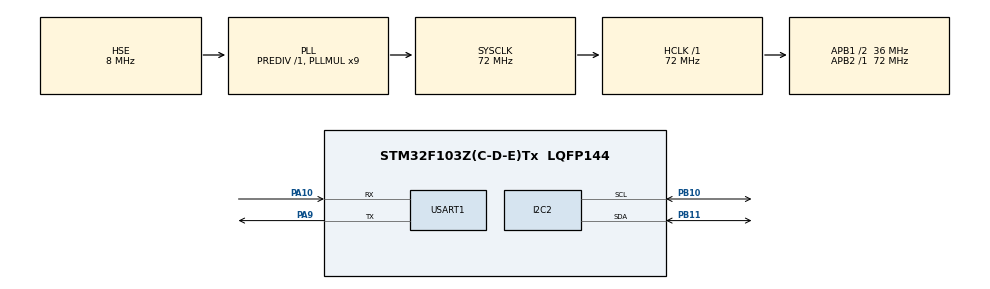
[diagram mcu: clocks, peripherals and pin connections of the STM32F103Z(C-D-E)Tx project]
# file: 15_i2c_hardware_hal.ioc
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Mcu.Family=STM32F1
Mcu.Name=STM32F103Z(C-D-E)Tx
Mcu.Package=LQFP144
NVIC.PriorityGroup=NVIC_PRIORITYGROUP_4
OSC_IN.Mode=HSE-External-Oscillator
OSC_IN.Signal=RCC_OSC_IN
OSC_OUT.Mode=HSE-External-Oscillator
OSC_OUT.Signal=RCC_OSC_OUT
PA10.Mode=Asynchronous
PA10.Signal=USART1_RX
PA13.Mode=Serial_Wire
PA13.Signal=SYS_JTMS-SWDIO
PA14.Mode=Serial_Wire
PA14.Signal=SYS_JTCK-SWCLK
PA9.Mode=Asynchronous
PA9.Signal=USART1_TX
PB10.Mode=I2C
PB10.Signal=I2C2_SCL
PB11.Mode=I2C
PB11.Signal=I2C2_SDA
PC14-OSC32_IN.Mode=LSE-External-Oscillator
PC14-OSC32_IN.Signal=RCC_OSC32_IN
PC15-OSC32_OUT.Mode=LSE-External-Oscillator
PC15-OSC32_OUT.Signal=RCC_OSC32_OUT
ProjectManager.HeapSize=0x200
ProjectManager.StackSize=0x400
ProjectManager.TargetToolchain=MDK-ARM V5.32
RCC.AHBFreq_Value=72000000
RCC.APB1CLKDivider=RCC_HCLK_DIV2
RCC.APB1Freq_Value=36000000
RCC.APB1TimFreq_Value=72000000
RCC.APB2Freq_Value=72000000
RCC.APB2TimFreq_Value=72000000
RCC.HCLKFreq_Value=72000000
RCC.PLLMUL=RCC_PLL_MUL9
RCC.PLLSourceVirtual=RCC_PLLSOURCE_HSE
RCC.SYSCLKFreq_VALUE=72000000
RCC.SYSCLKSource=RCC_SYSCLKSOURCE_PLLCLK
RCC.USBFreq_Value=72000000
USART1.VirtualMode=VM_ASYNC
board=custom

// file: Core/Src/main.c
/* USER CODE BEGIN Header */
/**
  ******************************************************************************
  * @file           : main.c
  * @brief          : Main program body
  ******************************************************************************
  * @attention
  *
  * Copyright (c) 2024 STMicroelectronics.
  * All rights reserved.
  *
  * This software is licensed under terms that can be found in the LICENSE file
  * in the root directory of this software component.
  * If no LICENSE file comes with this software, it is provided AS-IS.
  *
  ******************************************************************************
  */
/* USER CODE END Header */
#include "main.h"
#include "i2c.h"
#include "usart.h"
#include "gpio.h"

/* USER CODE BEGIN Includes */
#include "m24c02.h"
#include <string.h>
/* USER CODE END Includes */

void SystemClock_Config(void);

int main(void)
{

  /* MCU Configuration--------------------------------------------------------*/

  /* Reset of all peripherals, Initializes the Flash interface and the Systick. */
  HAL_Init();

  /* Configure the system clock */
  SystemClock_Config();

  /* Initialize all configured peripherals */
  MX_GPIO_Init();
  MX_I2C2_Init();
  MX_USART1_UART_Init();
  /* USER CODE BEGIN 2 */
  printf("Hello, world!\n");

	// 2. 从0地址开始，依次写入单个字符
	M24C02_WriteByte(0x00, 'a');
	M24C02_WriteByte(0x01, 'b');
	M24C02_WriteByte(0x02, 'c');

	// 3. 读取EEPROM中的数据
	printf("%c\n", M24C02_ReadByte(0x00));
	printf("%c\n", M24C02_ReadByte(0x01));
	printf("%c\n", M24C02_ReadByte(0x02));

	// 4. 连续写入多个字符（页写）
	M24C02_WriteBytes(0x00, "123456", 6);

	// printf("%c\n", M24C02_ReadByte(0x00));
	// printf("%c\n", M24C02_ReadByte(0x01));
	// printf("%c\n", M24C02_ReadByte(0x02));

	// 5. 连续读取多个字符
	uint8_t buffer[100] = {0};
	M24C02_ReadBytes(0x00, buffer, 7);
	printf("0x00 地址开始的数据为：%s\n", buffer);

	memset(buffer, 0, sizeof(buffer));

	M24C02_WriteByte(0x06, 'x');
	M24C02_ReadBytes(0x00, buffer, 7);
	printf("0x00 地址开始的数据为：%s\n", buffer);

	memset(buffer, 0, sizeof(buffer));

	// 6. 超出一页范围的连续写入
	M24C02_WriteBytes(0x00, "1234567890abcdefghi", 19);
	M24C02_ReadBytes(0x00, buffer, 19);
	printf("0x00 地址开始的数据为：%s\n", buffer);

	M24C02_WriteBytes(0x10, "1234567890abcdefghi", 19);
	M24C02_ReadBytes(0x00, buffer, 32);
	printf("0x00 地址开始的数据为：%s\n", buffer);

  /* USER CODE END 2 */

  /* Infinite loop */
  while (1)
  {

  }
}

void SystemClock_Config(void)
{
  RCC_OscInitTypeDef RCC_OscInitStruct = {0};
  RCC_ClkInitTypeDef RCC_ClkInitStruct = {0};

  /** Initializes the RCC Oscillators according to the specified parameters
  * in the RCC_OscInitTypeDef structure.
  */
  RCC_OscInitStruct.OscillatorType = RCC_OSCILLATORTYPE_HSE;
  RCC_OscInitStruct.HSEState = RCC_HSE_ON;
  RCC_OscInitStruct.HSEPredivValue = RCC_HSE_PREDIV_DIV1;
  RCC_OscInitStruct.HSIState = RCC_HSI_ON;
  RCC_OscInitStruct.PLL.PLLState = RCC_PLL_ON;
  RCC_OscInitStruct.PLL.PLLSource = RCC_PLLSOURCE_HSE;
  RCC_OscInitStruct.PLL.PLLMUL = RCC_PLL_MUL9;
  if (HAL_RCC_OscConfig(&RCC_OscInitStruct) != HAL_OK)
  {
    Error_Handler();
  }

  /** Initializes the CPU, AHB and APB buses clocks
  */
  RCC_ClkInitStruct.ClockType = RCC_CLOCKTYPE_HCLK|RCC_CLOCKTYPE_SYSCLK
                              |RCC_CLOCKTYPE_PCLK1|RCC_CLOCKTYPE_PCLK2;
  RCC_ClkInitStruct.SYSCLKSource = RCC_SYSCLKSOURCE_PLLCLK;
  RCC_ClkInitStruct.AHBCLKDivider = RCC_SYSCLK_DIV1;
  RCC_ClkInitStruct.APB1CLKDivider = RCC_HCLK_DIV2;
  RCC_ClkInitStruct.APB2CLKDivider = RCC_HCLK_DIV1;

  if (HAL_RCC_ClockConfig(&RCC_ClkInitStruct, FLASH_LATENCY_2) != HAL_OK)
  {
    Error_Handler();
  }
}

void Error_Handler(void)
{
  __disable_irq();
  while (1)
  {
  }
}
